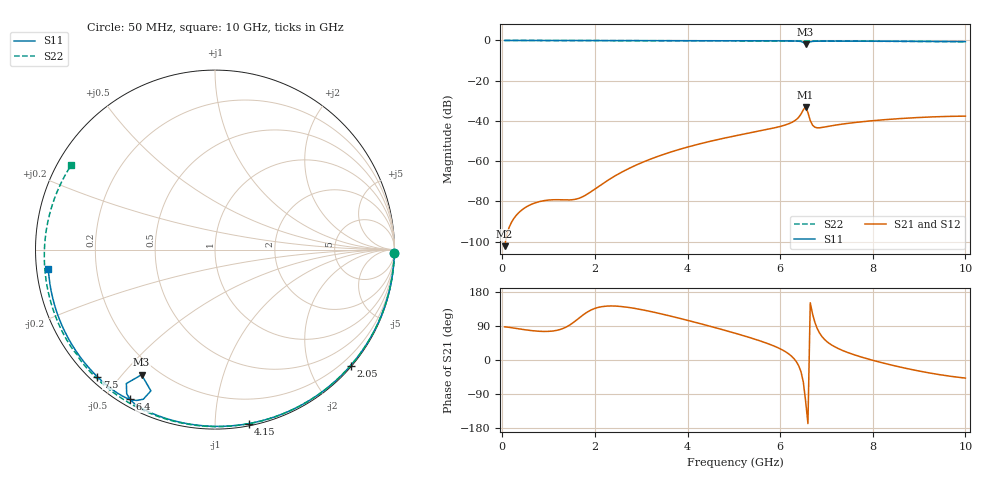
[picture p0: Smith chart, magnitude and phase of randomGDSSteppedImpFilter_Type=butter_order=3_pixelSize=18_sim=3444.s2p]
! freq	dB(S11)	phase(S11)	dB(S12)	phase(S12)
!  dB(S21)	phase(S21)	dB(S22)	phase(S22)
!S-par simulation data
#  GHz  S  DB  R 50
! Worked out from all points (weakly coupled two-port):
!   200 points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, 50 MHz to 10 GHz, reference 50 ohm
!   highest |S21| = -33.02 dB at 6.55 GHz (marker M1); lowest = -102.3 dB at 50 MHz (marker M2)
!   lowest |S11| = -1.8 dB at 6.55 GHz (marker M3), VSWR 9.45, Z = 7 - j28.2 ohm
!   |S11| at or under -10 dB: nowhere
!   |S22| runs from -0.6 to 0.0 dB; largest |S21 - S12| = 0
!   S11 on the Smith chart (normalised r, x): 50 MHz: open; 2.05 GHz: 0.02, -2.71; 4.15 GHz: 0.02, -1.21; 6.4 GHz: 0.03, -0.58; 7.5 GHz: 0.02, -0.44; 10 GHz: 0.03, -0.06
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0.05  -0.00 -1.0  -102.28 87.3  -102.28 87.3  -0.01 -1.2
0.75  -0.02 -15.1  -80.45 76.2  -80.45 76.2  -0.02 -18.6
1.5  -0.04 -29.9  -79.22 95.9  -79.22 95.9  -0.05 -36.8
1.75  -0.04 -34.8  -77.53 119.4  -77.53 119.4  -0.05 -42.7
2.05  -0.05 -40.6  -73.07 138.1  -73.07 138.1  -0.06 -49.7
2.65  -0.07 -51.9  -64.62 140.0  -64.62 140.0  -0.08 -63.4
3.4  -0.09 -65.7  -57.31 122.6  -57.31 122.6  -0.10 -79.9
4.15  -0.11 -79.1  -52.08 100.0  -52.08 100.0  -0.13 -95.7
5.05  -0.14 -94.6  -47.32 69.9  -47.32 69.9  -0.17 -113.7
6.05  -0.20 -111.7  -42.45 26.4  -42.45 26.4  -0.23 -133.0
6.25  -0.24 -115.7  -40.77 9.6  -40.77 9.6  -0.24 -136.8
6.4  -0.36 -119.6  -38.21 -15.1  -38.21 -15.1  -0.25 -139.7
6.5  -0.97 -123.5  -34.47 -58.0  -34.47 -58.0  -0.28 -141.6
6.55  -1.85 -120.4  -33.02 -108.5  -33.02 -108.5  -0.30 -142.5
6.6  -1.27 -114.4  -35.92 -167.7  -35.92 -167.7  -0.30 -143.2
6.65  -0.68 -115.6  -39.80 151.2  -39.80 151.2  -0.29 -144.1
6.7  -0.47 -117.4  -42.13 121.4  -42.13 121.4  -0.28 -145.1
6.85  -0.32 -121.4  -43.42 71.3  -43.42 71.3  -0.29 -148.0
7.5  -0.31 -132.9  -41.11 18.0  -41.11 18.0  -0.34 -160.2
8.35  -0.38 -146.5  -39.23 -11.8  -39.23 -11.8  -0.42 -176.5
9.2  -0.48 -160.1  -38.09 -33.7  -38.09 -33.7  -0.52 166.6
10  -0.59 -173.3  -37.64 -47.8  -37.64 -47.8  -0.64 149.6
